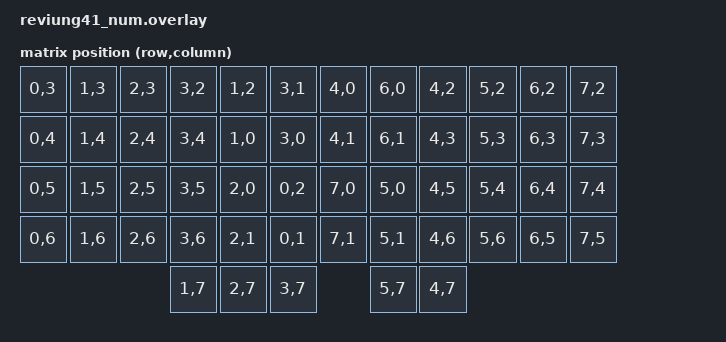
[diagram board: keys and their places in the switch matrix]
/*
 * Copyright (c) 2020 The ZMK Contributors
 *
 * SPDX-License-Identifier: MIT
 */

#include <dt-bindings/zmk/matrix_transform.h>
#include "reviung41_num_layout.dtsi"

/ {
  chosen {
    zmk,kscan = &kscan_0;
    zmk,physical-layout = &reviung41_num_layout;

  };

  reviung41_num_layout {
      transform = <&default_transform>;
  };

  default_transform: default_transform {
      compatible = "zmk,matrix-transform";
      columns = <8>;
      rows = <8>;

      map = <
        RC(0,3) RC(1,3) RC(2,3) RC(3,2) RC(1,2) RC(3,1)     RC(4,0) RC(6,0) RC(4,2) RC(5,2) RC(6,2) RC(7,2)
        RC(0,4) RC(1,4) RC(2,4) RC(3,4) RC(1,0) RC(3,0)     RC(4,1) RC(6,1) RC(4,3) RC(5,3) RC(6,3) RC(7,3)
        RC(0,5) RC(1,5) RC(2,5) RC(3,5) RC(2,0) RC(0,2)     RC(7,0) RC(5,0) RC(4,5) RC(5,4) RC(6,4) RC(7,4)
        RC(0,6) RC(1,6) RC(2,6) RC(3,6) RC(2,1) RC(0,1)     RC(7,1) RC(5,1) RC(4,6) RC(5,6) RC(6,5) RC(7,5)
                                RC(1,7) RC(2,7)       RC(3,7)       RC(5,7) RC(4,7)
      >;
  };

  kscan_0: kscan_0 {
      compatible = "zmk,kscan-gpio-charlieplex";

      interrupt-gpios = <&xiao_d 9 (GPIO_ACTIVE_HIGH | GPIO_PULL_DOWN)>;

      gpios
          = <&xiao_d 0 GPIO_ACTIVE_HIGH>
          , <&xiao_d 1 GPIO_ACTIVE_HIGH>
          , <&xiao_d 2 GPIO_ACTIVE_HIGH>
          , <&xiao_d 3 GPIO_ACTIVE_HIGH>
          , <&xiao_d 4 GPIO_ACTIVE_HIGH>
          , <&xiao_d 5 GPIO_ACTIVE_HIGH>
          , <&xiao_d 6 GPIO_ACTIVE_HIGH>
          , <&xiao_d 7 GPIO_ACTIVE_HIGH>
          ;
  };
};

&xiao_i2c { status = "disabled"; };
&xiao_spi { status = "disabled"; };
&xiao_serial { status = "disabled"; };

zephyr_udc0: &usbd {
    status = "okay";
};
